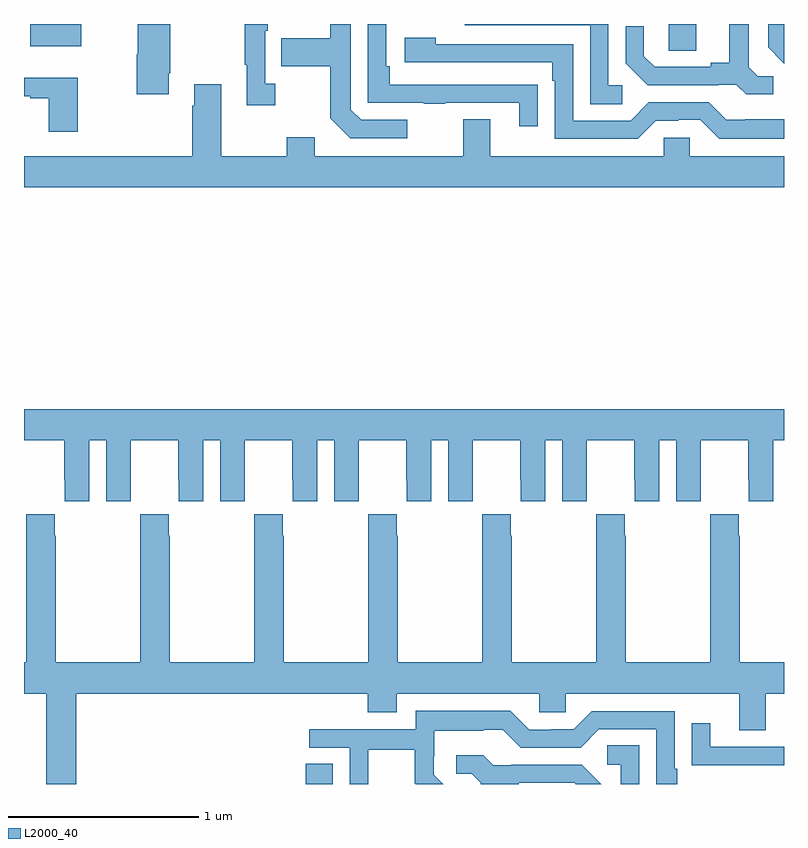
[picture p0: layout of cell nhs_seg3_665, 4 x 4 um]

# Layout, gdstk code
import gdstk
lib = gdstk.Library(unit=1e-6, precision=1e-09)
def R(c, l, rs):  # rectangles x0, y0, x1, y1
    for r in rs: c.add(gdstk.rectangle(r[:2], r[2:], *l))
def P(c, l, *ps):  # polygons
    for p in ps: c.add(gdstk.Polygon(p, *l))
L2000_40 = (2000, 40)

nhs_seg3_665 = lib.new_cell('nhs_seg3_665')
R(nhs_seg3_665, L2000_40, [(144.482,740.4,144.625,740.507), (146.394,744.259,146.539,744.4), (143.033,744.284,143.302,744.4)])
P(nhs_seg3_665, L2000_40, [(143.761,744.142),(143.769,744.142),(143.769,744.4),(143.599,744.4),(143.599,744.242),(143.594,744.242),(143.594,744.03),(143.761,744.03)],
  [(146.944,744.126),(146.862,744.126),(146.815,744.173),(146.815,744.4),(146.711,744.4),(146.711,744.197),(146.615,744.197),(146.615,744.174),(146.32,744.174),(146.263,744.231),(146.263,744.388),(146.166,744.388),(146.166,744.194),(146.282,744.078),(146.654,744.078),(146.654,744.081),(146.748,744.081),(146.8,744.029),(146.944,744.029)],
  [(146.149,744.078),(146.076,744.078),(146.076,744.4),(145.321,744.4),(145.321,744.393),(145.98,744.393),(145.98,743.977),(146.149,743.977)],
  [(145.018,743.895),(144.774,743.895),(144.72,743.949),(144.72,744.4),(144.612,744.4),(144.612,744.325),(144.355,744.325),(144.355,744.178),(144.612,744.178),(144.612,743.905),(144.717,743.799),(145.018,743.799)],
  [(145.703,744.08),(145.601,744.08),(145.601,744.081),(144.926,744.081),(144.926,744.178),(144.906,744.178),(144.906,744.4),(144.81,744.4),(144.81,743.985),(145.105,743.985),(145.105,743.98),(145.217,743.98),(145.217,743.985),(145.607,743.985),(145.607,743.862),(145.703,743.862)],
  [(144.322,744.086),(144.27,744.086),(144.27,744.365),(144.283,744.365),(144.283,744.4),(144.162,744.4),(144.162,744.185),(144.173,744.185),(144.173,743.973),(144.322,743.973)],
  [(147,744.4),(146.916,744.4),(146.916,744.278),(146.989,744.205),(146.988,744.204),(147,744.192)],
  [(147,743.899),(146.797,743.899),(146.797,743.895),(146.697,743.895),(146.604,743.988),(146.289,743.988),(146.193,743.892),(145.89,743.892),(145.89,744.294),(145.166,744.294),(145.166,744.328),(145.005,744.328),(145.005,744.198),(145.781,744.198),(145.781,744.101),(145.794,744.101),(145.794,743.796),(146.229,743.796),(146.325,743.892),(146.444,743.892),(146.444,743.895),(146.559,743.895),(146.659,743.795),(147,743.795)],
  [(143.282,744.118),(143,744.118),(143,744.021),(143.033,744.021),(143.033,744.009),(143.129,744.009),(143.129,743.832),(143.282,743.832)],
  [(147,743.704),(146.505,743.704),(146.505,743.802),(146.367,743.802),(146.367,743.704),(145.453,743.704),(145.453,743.899),(145.313,743.899),(145.313,743.704),(144.529,743.704),(144.529,743.803),(144.382,743.803),(144.382,743.704),(144.037,743.704),(144.037,744.082),(143.897,744.082),(143.897,743.969),(143.885,743.969),(143.885,743.704),(143,743.704),(143,743.54),(147,743.54)],
  [(143,742.208),(143.213,742.208),(143.213,742),(143.214,742),(143.214,741.888),(143.344,741.888),(143.344,742.208),(143.432,742.208),(143.432,741.888),(143.562,741.888),(143.562,742),(143.563,742),(143.563,742.208),(143.813,742.208),(143.813,742),(143.814,742),(143.814,741.888),(143.944,741.888),(143.944,742.208),(144.032,742.208),(144.032,741.888),(144.162,741.888),(144.162,742),(144.163,742),(144.163,742.208),(144.413,742.208),(144.413,742),(144.414,742),(144.414,741.888),(144.544,741.888),(144.544,742.208),(144.632,742.208),(144.632,741.888),(144.762,741.888),(144.762,742),(144.763,742),(144.763,742.208),(145.013,742.208),(145.013,742),(145.014,742),(145.014,741.888),(145.144,741.888),(145.144,742.208),(145.232,742.208),(145.232,741.888),(145.362,741.888),(145.362,742),(145.363,742),(145.363,742.208),(145.613,742.208),(145.613,742),(145.614,742),(145.614,741.888),(145.744,741.888),(145.744,742.208),(145.832,742.208),(145.832,741.888),(145.962,741.888),(145.962,742),(145.963,742),(145.963,742.208),(146.213,742.208),(146.213,742),(146.214,742),(146.214,741.888),(146.344,741.888),(146.344,742.208),(146.432,742.208),(146.432,741.888),(146.562,741.888),(146.562,742),(146.563,742),(146.563,742.208),(146.813,742.208),(146.813,742),(146.814,742),(146.814,741.888),(146.944,741.888),(146.944,742.208),(147,742.208),(147,742.372),(143,742.372)],
  [(144.961,740.876),(145.713,740.876),(145.713,740.778),(145.851,740.778),(145.851,740.876),(146.765,740.876),(146.765,740.682),(146.905,740.682),(146.905,740.876),(147,740.876),(147,741.04),(146.766,741.04),(146.766,741.707),(146.763,741.707),(146.763,741.82),(146.613,741.82),(146.613,741.707),(146.611,741.707),(146.611,741.04),(146.166,741.04),(146.166,741.707),(146.163,741.707),(146.163,741.82),(146.013,741.82),(146.013,741.707),(146.011,741.707),(146.011,741.04),(145.566,741.04),(145.566,741.707),(145.563,741.707),(145.563,741.82),(145.413,741.82),(145.413,741.707),(145.411,741.707),(145.411,741.04),(144.966,741.04),(144.966,741.707),(144.963,741.707),(144.963,741.82),(144.813,741.82),(144.813,741.707),(144.811,741.707),(144.811,741.04),(144.366,741.04),(144.366,741.707),(144.363,741.707),(144.363,741.82),(144.213,741.82),(144.213,741.707),(144.211,741.707),(144.211,741.04),(143.766,741.04),(143.766,741.707),(143.763,741.707),(143.763,741.82),(143.613,741.82),(143.613,741.707),(143.611,741.707),(143.611,741.04),(143.166,741.04),(143.166,741.707),(143.163,741.707),(143.163,741.82),(143.013,741.82),(143.013,741.707),(143.011,741.707),(143.011,741.04),(143,741.04),(143,740.876),(143.116,740.876),(143.116,740.4),(143.276,740.4),(143.276,740.876),(144.809,740.876),(144.809,740.777),(144.961,740.777)],
  [(144.813,740.58),(145.057,740.58),(145.057,740.405),(145.062,740.4),(145.206,740.4),(145.156,740.45),(145.156,740.547),(145.158,740.547),(145.158,740.681),(145.421,740.681),(145.421,740.685),(145.521,740.685),(145.614,740.592),(145.929,740.592),(146.025,740.688),(146.328,740.688),(146.328,740.4),(146.437,740.4),(146.437,740.479),(146.424,740.479),(146.424,740.784),(145.989,740.784),(145.893,740.688),(145.775,740.688),(145.775,740.685),(145.659,740.685),(145.559,740.785),(145.062,740.785),(145.062,740.688),(144.501,740.688),(144.501,740.592),(144.714,740.592),(144.714,740.4),(144.813,740.4)],
  [(147,740.595),(146.611,740.595),(146.611,740.719),(146.515,740.719),(146.515,740.5),(146.617,740.5),(146.617,740.499),(147,740.499)],
  [(146.238,740.603),(146.07,740.603),(146.07,740.502),(146.142,740.502),(146.142,740.4),(146.238,740.4)],
  [(145.603,740.406),(145.898,740.406),(145.904,740.4),(146.038,740.4),(145.936,740.502),(145.564,740.502),(145.564,740.499),(145.47,740.499),(145.418,740.551),(145.275,740.551),(145.275,740.454),(145.356,740.454),(145.403,740.407),(145.403,740.4),(145.603,740.4)])

lib.write_gds('nhs_seg3_665.gds')
